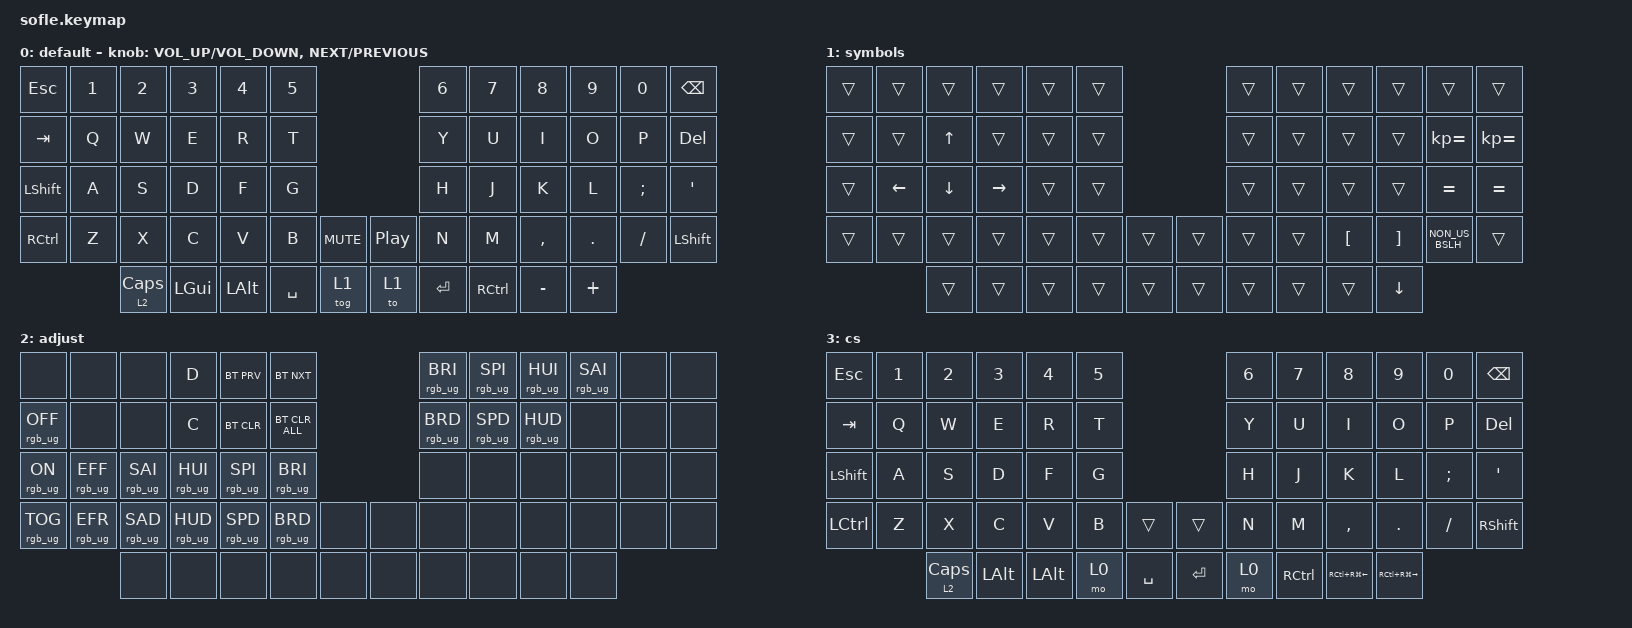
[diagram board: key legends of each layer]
/*
 * Copyright (c) 2020 The ZMK Contributors
 *
 * SPDX-License-Identifier: MIT
 */

#include <behaviors.dtsi>
#include <dt-bindings/zmk/bt.h>
#include <dt-bindings/zmk/keys.h>
#include <dt-bindings/zmk/rgb.h>

#define BASE 0
#define LOWER 1
#define RAISE 2
#define ADJUST 3

&led_strip {
    chain-length = <29>; // Sofle Using All LEDs
};

/ {
    // Activate ADJUST layer by pressing raise and lower

    conditional_layers { compatible = "zmk,conditional-layers"; };

    combos {
        compatible = "zmk,combos";

        cs {
            bindings = <&to 3>;
            key-positions = <39 40 41>;
            layers = <2 3>;
        };

        home {
            bindings = <&to 0>;
            key-positions = <27 28 29>;
            layers = <2 3>;
        };
    };

    keymap {
        compatible = "zmk,keymap";

        default_layer {
            display-name = "default";

            // ------------------------------------------------------------------------------------------------------------
            // |   `   |  1  |  2  |  3   |  4   |  5   |                   |  6   |  7    |  8    |  9   |   0   |       |
            // |  ESC  |  Q  |  W  |  E   |  R   |  T   |                   |  Y   |  U    |  I    |  O   |   P   | BKSPC |
            // |  TAB  |  A  |  S  |  D   |  F   |  G   |                   |  H   |  J    |  K    |  L   |   ;   |   '   |
            // | SHIFT |  Z  |  X  |  C   |  V   |  B   |  MUTE  |  |       |  N   |  M    |  ,    |  .   |   /   | SHIFT |
            //               | GUI | ALT  | CTRL | LOWER|  ENTER |  | SPACE | RAISE| CTRL  | ALT   | GUI  |

            bindings = <
&kp ESCAPE      &kp N1  &kp N2          &kp N3        &kp N4        &kp N5                                     &kp N6     &kp N7     &kp N8     &kp N9    &kp N0    &kp BACKSPACE
&kp TAB         &kp Q   &kp W           &kp E         &kp R         &kp T                                      &kp Y      &kp U      &kp I      &kp O     &kp P     &kp DELETE
&kp LEFT_SHIFT  &kp A   &kp S           &kp D         &kp F         &kp G                                      &kp H      &kp J      &kp K      &kp L     &kp SEMI  &kp SQT
&kp RCTRL       &kp Z   &kp X           &kp C         &kp V         &kp B      &kp C_MUTE    &kp C_PLAY_PAUSE  &kp N      &kp M      &kp COMMA  &kp DOT   &kp FSLH  &kp LSHFT
                        &lt 2 CAPSLOCK  &kp LEFT_GUI  &kp LEFT_ALT  &kp SPACE  &tog 1        &to 1             &kp ENTER  &kp RCTRL  &kp MINUS  &kp PLUS
            >;

            sensor-bindings =
                <&inc_dec_kp C_VOLUME_UP C_VOLUME_DOWN>,
                <&inc_dec_kp C_NEXT C_PREVIOUS>;
        };

        symbols {
            bindings = <
&trans  &trans          &trans          &trans           &trans  &trans                    &trans  &trans  &trans            &trans             &trans           &trans
&trans  &trans          &kp UP_ARROW    &trans           &trans  &trans                    &trans  &trans  &trans            &trans             &kp KP_EQUAL     &kp KP_EQUAL
&trans  &kp LEFT_ARROW  &kp DOWN_ARROW  &kp RIGHT_ARROW  &trans  &trans                    &trans  &trans  &trans            &trans             &kp EQUAL        &kp EQUAL
&trans  &trans          &trans          &trans           &trans  &trans  &trans    &trans  &trans  &trans  &kp LEFT_BRACKET  &kp RIGHT_BRACKET  &kp NON_US_BSLH  &trans
                        &trans          &trans           &trans  &trans  &trans    &trans  &trans  &trans  &trans            &kp DOWN_ARROW
            >;
        };

        adjust_layer {
            // ----------------------------------------------------------------------------------------------------------------------------
            // | BTCLR  |  BT1    |  BT2    |   BT3   |   BT4   |   BT5   |                  |      |      |       |      |       |       |
            // | EXTPWR | RGB_HUD | RGB_HUI | RGB_SAD | RGB_SAI | RGB_EFF |                  |      |      |       |      |       |       |
            // |        | RGB_BRD | RGB_BRI |         |         |         |                  |      |      |       |      |       |       |
            // |        |         |         |         |         |         | RGB_TOG | |      |      |      |       |      |       |       |
            //                    |         |         |         |         |         | |      |      |      |       |      |

            display-name = "adjust";
            bindings = <
&none            &none            &none            &kp D            &bt BT_PRV       &bt BT_NXT                       &rgb_ug RGB_BRI  &rgb_ug RGB_SPI  &rgb_ug RGB_HUI  &rgb_ug RGB_SAI  &none  &none
&rgb_ug RGB_OFF  &none            &none            &kp C            &bt BT_CLR       &bt BT_CLR_ALL                   &rgb_ug RGB_BRD  &rgb_ug RGB_SPD  &rgb_ug RGB_HUD  &none            &none  &none
&rgb_ug RGB_ON   &rgb_ug RGB_EFF  &rgb_ug RGB_SAI  &rgb_ug RGB_HUI  &rgb_ug RGB_SPI  &rgb_ug RGB_BRI                  &none            &none            &none            &none            &none  &none
&rgb_ug RGB_TOG  &rgb_ug RGB_EFR  &rgb_ug RGB_SAD  &rgb_ug RGB_HUD  &rgb_ug RGB_SPD  &rgb_ug RGB_BRD  &none    &none  &none            &none            &none            &none            &none  &none
                                  &none            &none            &none            &none            &none    &none  &none            &none            &none            &none
            >;
        };

        cs {
            bindings = <
&kp ESC    &kp N1  &kp N2      &kp N3        &kp N4        &kp N5                          &kp N6  &kp N7     &kp N8            &kp N9             &kp N0    &kp BSPC
&kp TAB    &kp Q   &kp W       &kp E         &kp R         &kp T                           &kp Y   &kp U      &kp I             &kp O              &kp P     &kp DEL
&kp LSHFT  &kp A   &kp S       &kp D         &kp F         &kp G                           &kp H   &kp J      &kp K             &kp L              &kp SEMI  &kp SQT
&kp LCTRL  &kp Z   &kp X       &kp C         &kp V         &kp B   &trans       &trans     &kp N   &kp M      &kp COMMA         &kp DOT            &kp FSLH  &kp RSHFT
                   &lt 2 CAPS  &kp LEFT_ALT  &kp LEFT_ALT  &mo 0   &kp SPACE    &kp ENTER  &mo 0   &kp RCTRL  &kp RC(RG(LEFT))  &kp RC(RG(RIGHT))
            >;

            label = "cs";
        };
    };
};
